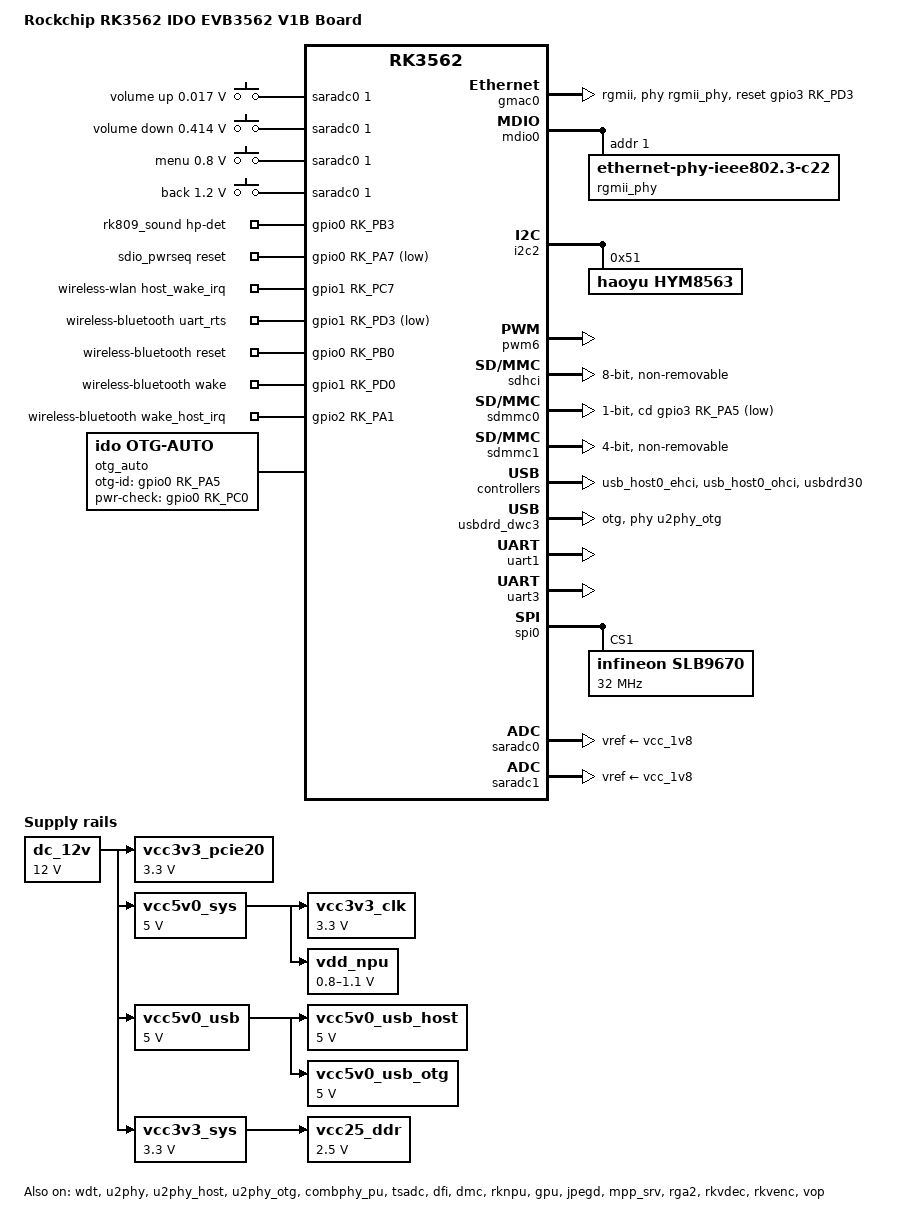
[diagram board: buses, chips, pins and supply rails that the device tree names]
// SPDX-License-Identifier: (GPL-2.0+ OR MIT)
/*
 * Copyright (c) 2022 Rockchip Electronics Co., Ltd.
 *
 */

/dts-v1/;

#include "rk3562.dtsi"
#include "rk3562-linux.dtsi"
#include "rk3562-rk809.dtsi"
#include "jq-evb3562-mipi.dtsi"
// #include "aplex-evb3562-csi-camera.dtsi" 
#include <dt-bindings/gpio/gpio.h>
#include <dt-bindings/pinctrl/rockchip.h>
#include <dt-bindings/sensor-dev.h>
#include <dt-bindings/input/input.h>

/ {
	model = "Rockchip RK3562 IDO EVB3562 V1B Board";
	compatible = "rockchip,rk3562-evb2-ddr4-v10", "rockchip,rk3562";

	adc_keys: adc-keys {
		compatible = "adc-keys";
		io-channels = <&saradc0 1>;
		io-channel-names = "buttons";
		keyup-threshold-microvolt = <1800000>;
		poll-interval = <100>;

		vol-up-key {
			linux,code = <KEY_VOLUMEUP>;
			label = "volume up";
			press-threshold-microvolt = <17000>;
		};

		vol-down-key {
			linux,code = <KEY_VOLUMEDOWN>;
			label = "volume down";
			press-threshold-microvolt = <414000>;
		};

		menu-key {
			linux,code = <KEY_MENU>;
			label = "menu";
			press-threshold-microvolt = <800000>;
		};

		back-key {
			linux,code = <KEY_BACK>;
			label = "back";
			press-threshold-microvolt = <1200000>;
		};
	};

	dc_12v: dc-12v {
		compatible = "regulator-fixed";
		regulator-name = "dc_12v";
		regulator-always-on;
		regulator-boot-on;
		regulator-min-microvolt = <12000000>;
		regulator-max-microvolt = <12000000>;
	};

	rk809_sound: rk809-sound {
		status = "okay";
		compatible = "rockchip,multicodecs-card";
		rockchip,card-name = "rockchip-rk809";
		hp-det-gpio = <&gpio0 RK_PB3 GPIO_ACTIVE_HIGH>;
		rockchip,format = "i2s";
		rockchip,mclk-fs = <256>;
		rockchip,cpu = <&sai0>;
		rockchip,codec = <&rk809_codec>;
		pinctrl-names = "default";
		pinctrl-0 = <&hp_det>;
	};

	vcc3v3_pcie20: vcc3v3-pcie20 {
		compatible = "regulator-fixed";
		regulator-name = "vcc3v3_pcie20";
		regulator-min-microvolt = <3300000>;
		regulator-max-microvolt = <3300000>;
		enable-active-high;
		// gpios = <&gpio0 RK_PB7 GPIO_ACTIVE_HIGH>;
		startup-delay-us = <5000>;
		vin-supply = <&dc_12v>;
		status = "okay";
	};

	vcc5v0_sys: vcc5v0-sys {
		compatible = "regulator-fixed";
		regulator-name = "vcc5v0_sys";
		regulator-always-on;
		regulator-boot-on;
		regulator-min-microvolt = <5000000>;
		regulator-max-microvolt = <5000000>;
		vin-supply = <&dc_12v>;
	};

	vcc5v0_usb: vcc5v0-usb {
		compatible = "regulator-fixed";
		regulator-name = "vcc5v0_usb";
		regulator-always-on;
		regulator-boot-on;
		regulator-min-microvolt = <5000000>;
		regulator-max-microvolt = <5000000>;
		vin-supply = <&dc_12v>;
	};

	vcc5v0_usb_host: vcc5v0-usb-host {
		compatible = "regulator-fixed";
		regulator-name = "vcc5v0_usb_host";
		regulator-boot-on;
		regulator-always-on;
		regulator-min-microvolt = <5000000>;
		regulator-max-microvolt = <5000000>;
		enable-active-high;
		// gpio = <&gpio4 RK_PB0 GPIO_ACTIVE_HIGH>;
		vin-supply = <&vcc5v0_usb>;
		pinctrl-names = "default";
		// pinctrl-0 = <&usb_host_pwren>;
	};

	vcc5v0_usb_otg: vcc5v0-usb-otg {
		compatible = "regulator-fixed";
		regulator-name = "vcc5v0_usb_otg";
		regulator-min-microvolt = <5000000>;
		regulator-max-microvolt = <5000000>;
		enable-active-high;
		// gpio = <&gpio0 RK_PC0 GPIO_ACTIVE_HIGH>;
		vin-supply = <&vcc5v0_usb>;
		pinctrl-names = "default";
		// pinctrl-0 = <&usb_otg_pwren>;
	};

	vcc3v3_clk: vcc3v3-clk {
		compatible = "regulator-fixed";
		regulator-name = "vcc3v3_clk";
		regulator-min-microvolt = <3300000>;
		regulator-max-microvolt = <3300000>;
		vin-supply = <&vcc5v0_sys>;
	};

	vcc3v3_sys: vcc-sys {
		compatible = "regulator-fixed";
		regulator-name = "vcc3v3_sys";
		regulator-always-on;
		regulator-boot-on;
		regulator-min-microvolt = <3300000>;
		regulator-max-microvolt = <3300000>;
		vin-supply = <&dc_12v>;
	};

	vcc25_ddr: vcc25-ddr {
		compatible = "regulator-fixed";
		regulator-name = "vcc25_ddr";
		regulator-always-on;
		regulator-boot-on;
		regulator-min-microvolt = <2500000>;
		regulator-max-microvolt = <2500000>;
		vin-supply = <&vcc3v3_sys>;
	};

	vdd_npu: vdd-npu {
		compatible = "pwm-regulator";
		pwms = <&pwm6 0 5000 1>;
		regulator-name = "vdd_npu";
		regulator-min-microvolt = <800000>;
		regulator-max-microvolt = <1100000>;
		regulator-init-microvolt = <900000>;
		regulator-always-on;
		regulator-boot-on;
		regulator-settling-time-up-us = <250>;
		pwm-supply = <&vcc5v0_sys>;
		status = "okay";
	};

	sdio_pwrseq: sdio-pwrseq {
		compatible = "mmc-pwrseq-simple";
		clocks = <&rk809 1>;
		clock-names = "ext_clock";
		pinctrl-names = "default";
		pinctrl-0 = <&wifi_enable_h>;

		/*
		 * On the module itself this is one of these (depending
		 * on the actual card populated):
		 * - SDIO_RESET_L_WL_REG_ON
		 * - PDN (power down when low)
		 */
		post-power-on-delay-ms = <200>;
		//reset-gpios = <&gpio0 RK_PA0 GPIO_ACTIVE_LOW>;
		reset-gpios = <&gpio0 RK_PA7 GPIO_ACTIVE_LOW>;
	};

	wireless-wlan {
		compatible = "wlan-platdata";
		rockchip,grf = <&sys_grf>;
		//wifi_chip_type = "ap6275s";
		wifi_chip_type = "ap6256";
		pinctrl-names = "default";
		pinctrl-0 = <&wifi_host_wake_irq>;
		WIFI,host_wake_irq = <&gpio1 RK_PC7 GPIO_ACTIVE_HIGH>;
		// WIFI,poweren_gpio = <&gpio0 RK_PB3 GPIO_ACTIVE_HIGH>;
		status = "okay";
	};

	wireless-bluetooth {
		compatible = "bluetooth-platdata";
		clocks = <&rk809 1>;
		clock-names = "ext_clock";
		//wifi-bt-power-toggle;
		uart_rts_gpios = <&gpio1 RK_PD3 GPIO_ACTIVE_LOW>;
		pinctrl-names = "default", "rts_gpio";
		pinctrl-0 = <&uart1m0_rtsn>; //这里ar163使用m0
		pinctrl-1 = <&uart1_gpios>;
		
		BT,reset_gpio    = <&gpio0 RK_PB0 GPIO_ACTIVE_HIGH>;
		//BT,reset_gpio    = <&gpio3 RK_PD3 GPIO_ACTIVE_HIGH>;

		// BT,wake_gpio     = <&gpio0 RK_PA7 GPIO_ACTIVE_HIGH>;
		// BT,wake_host_irq = <&gpio0 RK_PC6 GPIO_ACTIVE_HIGH>;
		BT,wake_gpio     = <&gpio1 RK_PD0 GPIO_ACTIVE_HIGH>;
        	BT,wake_host_irq = <&gpio2 RK_PA1 GPIO_ACTIVE_HIGH>;

		status = "okay";
	};

	test-power {
		status = "okay";
	};
	#if 0
	leds: leds {
		status = "okay";
		//status = "disabled";
		compatible = "gpio-leds";
		pinctrl-names = "default";
		pinctrl-0 =<&leds_gpio>;

		heartbeat {
			gpios = <&gpio0 RK_PA7 GPIO_ACTIVE_HIGH>;
			linux,default-trigger = "heartbeat";
		};

		// hub_host3 {
		// 	gpios = <&gpio3 RK_PD1 GPIO_ACTIVE_HIGH>;
		// 	default-state = "off";
		// };

		// hub_host4 {
		// 	gpios = <&gpio3 RK_PC4 GPIO_ACTIVE_HIGH>;/
		// 	default-state = "on";
		// };

		4g_pwr {
			gpios = <&gpio4 RK_PB0 GPIO_ACTIVE_HIGH>;
			default-state = "on";
		};

		cam_pwd {
			gpios = <&gpio3 RK_PC6 GPIO_ACTIVE_LOW>;
			default-state = "off";
		};

		// cam_rst {
		// 	gpios = <&gpio3 RK_PC5 GPIO_ACTIVE_LOW>;
		// 	default-state = "on";
		// };
	};
	#endif
	otg_auto {
		compatible = "ido,otg-auto";
		pinctrl-names = "default";
		pinctrl-0 = <&otg_auto_gpio>;
		gpio-otg-id = <&gpio0 RK_PA5 GPIO_ACTIVE_HIGH>;
		gpio-pwr-check = <&gpio0 RK_PC0 GPIO_ACTIVE_HIGH>;
		status = "okay";
	};
};
/* gmac PHY */

&gmac0 {
	phy-mode = "rgmii";
	clock_in_out = "input";
	//clock_in_out = "output";
	//assigned-clocks = <&cru SCLK_GMAC0_RX_TX>, <&cru SCLK_GMAC0>;
	//assigned-clock-parents = <&cru SCLK_GMAC0_RGMII_SPEED>;
	//assigned-clock-rates = <0>, <125000000>;
	snps,reset-gpio = <&gpio3 RK_PD3 GPIO_ACTIVE_HIGH>;
	snps,reset-active-high;
	// snps,reset-active-low;
	/* Reset time is 20ms, 100ms for rtl8211f */
	//snps,reset-delays-us = <0 20000 100000>;
	snps,reset-delays-us = <0 50000 100000>;
	pinctrl-names = "default";
	pinctrl-0 = <&rgmiim0_miim
                     &rgmiim0_tx_bus2
                     &rgmiim0_rx_bus2
                     &rgmiim0_rgmii_clk
                     &rgmiim0_rgmii_bus
                         &rgmiim0_clk>;
	tx_delay = <0x2c>;
	rx_delay = <0x35>;
	phy-handle = <&rgmii_phy>;
	status = "okay";
};
#if 0
&gmac1 {
	phy-mode = "rmii";
	clock_in_out = "input";
	
	snps,reset-gpio = <&gpio2 RK_PA1 GPIO_ACTIVE_LOW>;
	snps,reset-active-low;
	snps,reset-delays-us = <0 20000 100000>;

	tx_delay = <0x10>;
	rx_delay = <0x2f>;

	pinctrl-names="default";
	pinctrl-0 = <&rmii_pins>;

	phy-handle = <&rgmii_phy1>;

	status = "okay";
};

&mdio1 {
	rgmii_phy1: phy@1 {
		compatible = "ethernet-phy-ieee802.3-c22";
		reg = <0x01>;
	};
};
#endif

&mdio0 {
	rgmii_phy: phy@1 {
		compatible = "ethernet-phy-ieee802.3-c22";
		reg = <0x1>;
	};
};
/* END PHY */

/*i2c*/
/*
&i2c5 {
        status = "okay";
        pinctrl-0 = <&i2c5m0_xfer>;
};*/

&i2c2 {
        status = "okay";

        pinctrl-0 = <&i2c2m0_xfer>;

        #if 0 //ecb20 R0.1 版本使用的RTC
        ds1337: rtc@68 {
                compatible = "dallas,ds1337";
                reg = <0x68>;
                status = "okay";
        };
		#endif

		#if 1 //ecb20 R1.0 版本使用的RTC
		hym8563:hym8563@51 {
			compatible = "haoyu,hym8563";
			reg = <0x51>;
			// #clock-cells = <0>;
			// clock-frequency = <32768>;
			status = "okay";
		};
		#endif
};

#if 0
&i2c3 {
	status = "okay";
	
	pinctrl-0 = <&i2c3m0_xfer>;
	hym8563:hym8563@51 {
		compatible = "haoyu,hym8563";
		reg = <0x51>;
		// #clock-cells = <0>;
		// clock-frequency = <32768>;
		status = "okay";
	};
};
#endif
/**/

#if 1 //rt test 0411
&gic { // 配置GIC中断亲和性（绑定到CPU0-2）
	interrupt-controller;
    interrupt-affinity = <&cpu0>, <&cpu1>, <&cpu2>;
	status = "okay";
};

&scmi_clk {
    clocks = <&xin24m>;  // 强制使用外部晶振
};

#endif

&wdt {
	status = "okay";
};

&pinctrl { //gpio

	tpm {
	         tpm_irq: tpm_irq {
	             rockchip,pins = <0  RK_PC0 RK_FUNC_GPIO &pcfg_pull_down>;
        	 };
	};

	headphone {
		hp_det: hp-det {
			rockchip,pins = <0 RK_PB3 RK_FUNC_GPIO &pcfg_pull_none>;
		};
	};

	sdio-pwrseq {
		wifi_enable_h: wifi-enable-h {
			//rockchip,pins = <0 RK_PA0 RK_FUNC_GPIO &pcfg_pull_none>;
			rockchip,pins = <3 RK_PC7 RK_FUNC_GPIO &pcfg_pull_none>;
		};
	};

	usb {
		usb_host_pwren: usb-host-pwren {
			rockchip,pins = <4 RK_PB0 RK_FUNC_GPIO &pcfg_pull_none>;
		};

		usb_otg_pwren: usb-otg-pwren {
			rockchip,pins = <0 RK_PC0 RK_FUNC_GPIO &pcfg_pull_none>;
		};
	};

	wireless-wlan {
		wifi_host_wake_irq: wifi-host-wake-irq {

			/*rockchip,pins = <0 RK_PA6 RK_FUNC_GPIO &pcfg_pull_up>, //客户底板的reset信号，开机拉高
			 <3 RK_PD0 RK_FUNC_GPIO &pcfg_pull_down>;*/

			 rockchip,pins = <3 RK_PD0 RK_FUNC_GPIO &pcfg_pull_down>;
		};
	};

	wireless-bluetooth {
		uart1_gpios: uart1-gpios {
                        rockchip,pins = <1 RK_PD3 RK_FUNC_GPIO &pcfg_pull_none>;
                };
	};

	gpio-leds {
		leds_gpio: leds-gpio {
			rockchip,pins =
					<0 RK_PA7 RK_FUNC_GPIO &pcfg_pull_none>,
					<3 RK_PA5 RK_FUNC_GPIO &pcfg_pull_up>,
					<3 RK_PA4 RK_FUNC_GPIO &pcfg_pull_down>;
		};
	};

	gpio-otg-auto {
		otg_auto_gpio: otg-gpio {
			rockchip,pins = <0 RK_PA5 RK_FUNC_GPIO &pcfg_pull_none>,
							<0 RK_PC0 RK_FUNC_GPIO &pcfg_pull_none>;
		};
	};
};

&pwm6 {
	pinctrl-0 = <&pwm6m0_pins>;
	status = "okay";
};

/*
&sai0 {
	status = "okay";
	pinctrl-names = "default";
	pinctrl-0 = <&i2s0m0_lrck
		     &i2s0m0_sclk
		     &i2s0m0_sdi0
		     &i2s0m0_sdo0>;
};*/

&sdhci {
	bus-width = <8>;
	no-sdio;
	no-sd;
	non-removable;
	max-frequency = <200000000>;
	mmc-hs400-1_8v;
	mmc-hs400-enhanced-strobe;
	full-pwr-cycle-in-suspend;
	status = "okay";
};

&sdmmc0 {
	max-frequency = <150000000>;
	supports-sd;

	no-sdio;
	no-mmc;
	bus-width = <1>;
	cap-mmc-highspeed;
	cap-sd-highspeed;
	disable-wp;

	cd-gpios = <&gpio3 RK_PA5 GPIO_ACTIVE_LOW>;

	// sd-uhs-sdr104;
	//vmmc-supply = <&vcc3v3_sd>;
	//vqmmc-supply = <&vccio_sd>;
	pinctrl-names = "default";
	pinctrl-0 = <&sdmmc0_bus4 &sdmmc0_clk &sdmmc0_cmd &sdmmc0_det>;
	//pinctrl-0 = <&sdmmc0_bus4 &sdmmc0_clk &sdmmc0_cmd>;
	status = "okay";
};

#if 1 //wifi
&sdmmc1 {
	max-frequency = <80000000>;
	no-sd;
	no-mmc;
	bus-width = <4>;
	disable-wp;
	cap-sd-highspeed;
	cap-sdio-irq;
	keep-power-in-suspend;
	mmc-pwrseq = <&sdio_pwrseq>;
	non-removable;
	pinctrl-names = "default";
	pinctrl-0 = <&sdmmc1_bus4 &sdmmc1_cmd &sdmmc1_clk>;
	sd-uhs-sdr104;
	status = "okay";
};
#endif

&u2phy {
	status = "okay";
};

&u2phy_host {
	status = "okay";
	phy-supply = <&vcc5v0_usb_host>;
};

&u2phy_otg {
	status = "okay";
	vbus-supply = <&vcc5v0_usb_otg>;
};

&usb_host0_ehci {
	status = "okay";
};

&usb_host0_ohci {
	status = "okay";
};

&usbdrd30 {
	status = "okay";
};

&usbdrd_dwc3 {
	status = "okay";
	dr_mode = "otg";
	extcon = <&u2phy>;
	maximum-speed = "high-speed";
	phys = <&u2phy_otg>;
	phy-names = "usb2-phy";
	snps,dis_u2_susphy_quirk;
	snps,usb2-lpm-disable;
};

&combphy_pu {
	status = "okay";
};

&pcie2x1 {
	pinctrl-0 = <&pcie20m1_pins>;
	reset-gpios = <&gpio0 RK_PA7 GPIO_ACTIVE_HIGH>;
	vpcie3v3-supply = <&vcc3v3_pcie20>;
	status = "disabled";
};


/* uart */
&uart1 {  //BT-wifi use
        status = "okay";
        pinctrl-names = "default";
        pinctrl-0 = <&uart1m0_xfer &uart1m0_ctsn>;
};

#if 0  //与嘉强的底板mipi信号冲突
&uart2 { //COM1
        status = "okay";
        pinctrl-names = "default";
        pinctrl-0 = <&uart2m1_xfer>;
};
#endif

&uart3 { //COM2
	status = "okay";
	pinctrl-names = "default";
	//pinctrl-0 = <&uart3m1_xfer &uart3m1_ctsn>;
	 pinctrl-0 = <&uart3m1_xfer>;
};

/*
&uart8 { //ECB20 底板上的uart口,与ecb20底板的 CSI CLK/EN 信号冲突
	status = "okay";
	pinctrl-names = "default";
	pinctrl-0 = <&uart8m0_xfer>;
};*/

#if 0
&uart4 {
	status = "okay";
	pinctrl-names = "default";
	pinctrl-0 = <&uart4m0_xfer>;
};

&uart6 {
	status = "okay";
	pinctrl-names = "default";
	pinctrl-0 = <&uart6m0_xfer>;
};

&uart9 {
	status = "okay";
	pinctrl-names = "default";
	pinctrl-0 = <&uart9m1_xfer>;
};
#endif

/* uart end */

&spi0 {
	status = "okay";

	#if 0
	assigned-clock-rates = <200000000>;
	pinctrl-0 = <&spi0m0_csn0 &spi0m0_csn1 &spi0m0_pins>;
	#endif

	#if 1
	max-freq = <48000000>;
	assigned-clockrates = <100000000>;
	spi-max-frequency = <50000000>;
	rx-sample-delay-ns = <0>;

	pinctrl-0 = <&spi0m0_pins &spi0m0_csn1>;
	slb9670: slb9670@0{
        	 compatible = "infineon,slb9670";
        	 reg = <1>;
         	#address-cells = <1>;
         	#size-cells = <0>;
         	spi-max-frequency = <32000000>;
         	status = "okay";
        };
	#endif
};

&saradc0 {
	status = "okay";
	vref-supply = <&vcc_1v8>;
};

&saradc1 {
	status = "okay";
	vref-supply = <&vcc_1v8>;
};

&tsadc {
	status = "okay";
};

&rk809_codec {
	spk-ctl-gpios = <&gpio4 RK_PB6 GPIO_ACTIVE_LOW>;
	spk-mute-delay-ms = <300>;
};

&cpu0 {
	cpu-supply = <&vdd_cpu>;
};

&dfi {
	status = "okay";
};

&dmc {
	center-supply = <&vdd_logic>;
	status = "okay";
};

&rknpu {
	rknpu-supply = <&vdd_npu>;
	status = "okay";
};

&rknpu_mmu {
	status = "okay";
};

&gpu {
	status = "okay";
	mali-supply = <&vdd_gpu>;
};

&jpegd {
	status = "okay";
};

&jpegd_mmu {
	status = "okay";
};

&mpp_srv {
	status = "okay";
};

&rga2 {
	status = "okay";
};

&rga2_mmu {
	status = "okay";
};

&rkvdec {
	status = "okay";
};

&rkvdec_mmu {
	status = "okay";
};

&rkvenc {
	status = "okay";
};

&rkvenc_mmu {
	status = "okay";
};

&vop {
	status = "okay";
};

&vop_mmu {
	status = "okay";
};
